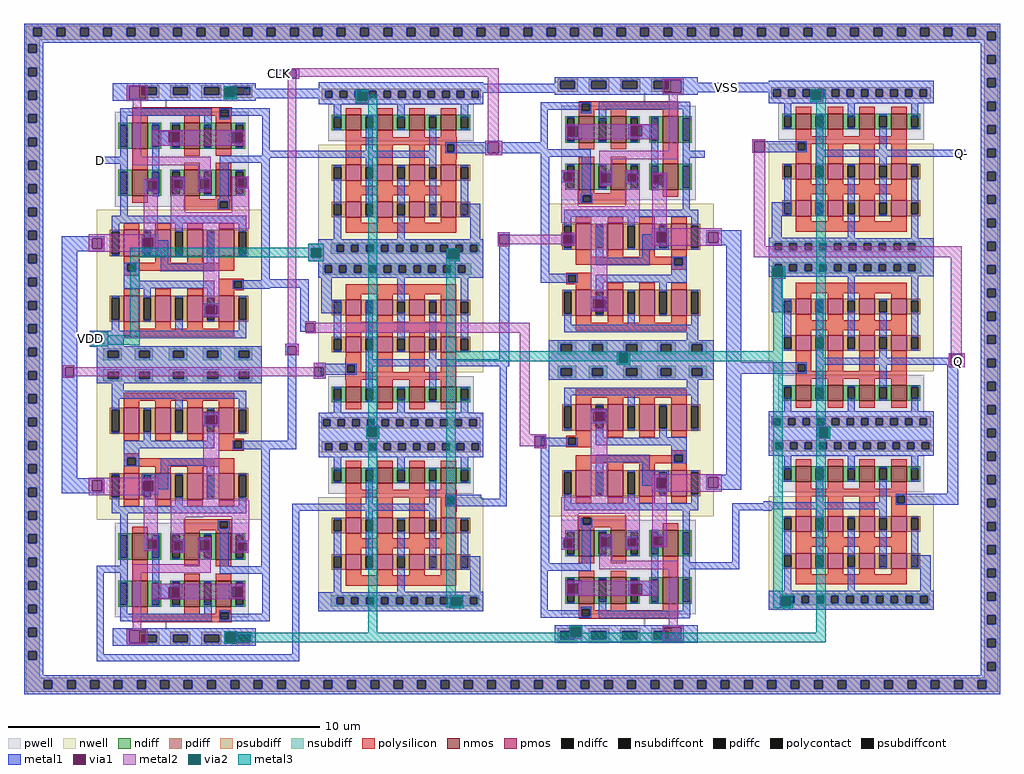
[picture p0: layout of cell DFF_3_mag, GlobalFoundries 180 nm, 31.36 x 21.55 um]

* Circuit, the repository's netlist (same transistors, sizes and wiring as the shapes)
* NGSPICE file created from /home/shahid/GF180Projects/Layout/Magic/VCO1/INV_2/DFF_3_mag.ext - technology: gf180mcuC

.subckt pmos_3p3_YMKZL5 a_n138_n84# a_50_n84# a_n50_n128# w_n224_n214#
X0 a_50_n84# a_n50_n128# a_n138_n84# w_n224_n214# pfet_03v3 ad=0.37p pd=2.56u as=0.37p ps=2.56u w=0.84u l=0.5u
.ends

.subckt nmos_3p3_UKFAHE a_n138_n84# a_50_n84# a_n50_n128# VSUBS
X0 a_50_n84# a_n50_n128# a_n138_n84# VSUBS nfet_03v3 ad=0.37p pd=2.56u as=0.37p ps=2.56u w=0.84u l=0.5u
.ends

.subckt Tr_Gate VSS OUT CLK VDD IN
Xpmos_3p3_YMKZL5_0 OUT IN a_174_n81# VDD pmos_3p3_YMKZL5
Xpmos_3p3_YMKZL5_1 IN OUT a_174_n81# VDD pmos_3p3_YMKZL5
Xpmos_3p3_YMKZL5_2 OUT IN a_174_n81# VDD pmos_3p3_YMKZL5
Xpmos_3p3_YMKZL5_3 IN OUT a_174_n81# VDD pmos_3p3_YMKZL5
Xpmos_3p3_YMKZL5_4 a_174_n81# VDD CLK VDD pmos_3p3_YMKZL5
Xpmos_3p3_YMKZL5_5 VDD a_174_n81# CLK VDD pmos_3p3_YMKZL5
Xnmos_3p3_UKFAHE_0 OUT IN CLK VSS nmos_3p3_UKFAHE
Xpmos_3p3_YMKZL5_6 a_174_n81# VDD CLK VDD pmos_3p3_YMKZL5
Xnmos_3p3_UKFAHE_1 IN OUT CLK VSS nmos_3p3_UKFAHE
Xpmos_3p3_YMKZL5_7 VDD a_174_n81# CLK VDD pmos_3p3_YMKZL5
Xnmos_3p3_UKFAHE_2 OUT IN CLK VSS nmos_3p3_UKFAHE
Xnmos_3p3_UKFAHE_3 OUT IN CLK VSS nmos_3p3_UKFAHE
Xnmos_3p3_UKFAHE_5 a_174_n81# VSS CLK VSS nmos_3p3_UKFAHE
Xnmos_3p3_UKFAHE_4 VSS a_174_n81# CLK VSS nmos_3p3_UKFAHE
.ends

.subckt nmos_3p3_6FEA4B a_n52_n50# a_256_n94# a_52_n94# a_356_n50# a_n256_n50# a_n444_n50#
+ a_152_n50# a_n356_n94# a_n152_n94# VSUBS
X0 a_152_n50# a_52_n94# a_n52_n50# VSUBS nfet_03v3 ad=0.13p pd=1.02u as=0.13p ps=1.02u w=0.5u l=0.5u
X1 a_n52_n50# a_n152_n94# a_n256_n50# VSUBS nfet_03v3 ad=0.13p pd=1.02u as=0.13p ps=1.02u w=0.5u l=0.5u
X2 a_n256_n50# a_n356_n94# a_n444_n50# VSUBS nfet_03v3 ad=0.13p pd=1.02u as=0.22p ps=1.88u w=0.5u l=0.5u
X3 a_356_n50# a_256_n94# a_152_n50# VSUBS nfet_03v3 ad=0.22p pd=1.88u as=0.13p ps=1.02u w=0.5u l=0.5u
.ends

.subckt pmos_3p3_KYEELV a_152_68# a_n444_n168# a_n256_68# a_n52_68# a_52_24# a_152_n168#
+ a_n444_68# a_356_68# a_256_n212# a_n256_n168# a_n356_n212# a_n152_24# w_n530_n298#
+ a_52_n212# a_n52_n168# a_n152_n212# a_n356_24# a_356_n168# a_256_24#
X0 a_n256_n168# a_n356_n212# a_n444_n168# w_n530_n298# pfet_03v3 ad=0.13p pd=1.02u as=0.22p ps=1.88u w=0.5u l=0.5u
X1 a_356_n168# a_256_n212# a_152_n168# w_n530_n298# pfet_03v3 ad=0.22p pd=1.88u as=0.13p ps=1.02u w=0.5u l=0.5u
X2 a_152_68# a_52_24# a_n52_68# w_n530_n298# pfet_03v3 ad=0.13p pd=1.02u as=0.13p ps=1.02u w=0.5u l=0.5u
X3 a_n52_68# a_n152_24# a_n256_68# w_n530_n298# pfet_03v3 ad=0.13p pd=1.02u as=0.13p ps=1.02u w=0.5u l=0.5u
X4 a_152_n168# a_52_n212# a_n52_n168# w_n530_n298# pfet_03v3 ad=0.13p pd=1.02u as=0.13p ps=1.02u w=0.5u l=0.5u
X5 a_356_68# a_256_24# a_152_68# w_n530_n298# pfet_03v3 ad=0.22p pd=1.88u as=0.13p ps=1.02u w=0.5u l=0.5u
X6 a_n52_n168# a_n152_n212# a_n256_n168# w_n530_n298# pfet_03v3 ad=0.13p pd=1.02u as=0.13p ps=1.02u w=0.5u l=0.5u
X7 a_n256_68# a_n356_24# a_n444_68# w_n530_n298# pfet_03v3 ad=0.13p pd=1.02u as=0.22p ps=1.88u w=0.5u l=0.5u
.ends

.subckt INV_2 VDD VSS IN OUT
Xnmos_3p3_6FEA4B_0 VSS IN IN VSS OUT VSS OUT IN IN VSS nmos_3p3_6FEA4B
Xpmos_3p3_KYEELV_0 OUT VDD OUT VDD IN OUT VDD VDD IN OUT IN IN VDD IN VDD IN IN VDD
+ IN pmos_3p3_KYEELV
.ends

.subckt x/home/shahid/GF180Projects/Layout/Magic/VCO1/INV_2/DFF_3_mag D CLK Q Q- VSS
+ VDD
XTr_Gate_3 VSS INV_2_1/IN CLK VDD INV_2_5/OUT Tr_Gate
XINV_2_0 VDD VSS CLK INV_2_0/OUT INV_2
XINV_2_1 VDD VSS INV_2_1/IN INV_2_5/IN INV_2
XINV_2_2 VDD VSS Q Q- INV_2
XINV_2_3 VDD VSS INV_2_3/IN Q INV_2
XINV_2_4 VDD VSS Q INV_2_4/OUT INV_2
XINV_2_5 VDD VSS INV_2_5/IN INV_2_5/OUT INV_2
XTr_Gate_0 VSS INV_2_3/IN INV_2_0/OUT VDD INV_2_4/OUT Tr_Gate
XTr_Gate_1 VSS INV_2_3/IN CLK VDD INV_2_5/IN Tr_Gate
XTr_Gate_2 VSS INV_2_1/IN INV_2_0/OUT VDD D Tr_Gate
.ends

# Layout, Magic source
magic
tech gf180mcuC
magscale 1 10
<< nwell >>
rect -817 1943 -712 1945
rect -3723 1885 -2663 1906
rect -817 1905 243 1943
<< psubdiff >>
rect -4178 4062 2072 4075
rect -4178 4006 -4129 4062
rect -4074 4006 -3979 4062
rect -3924 4006 -3829 4062
rect -3774 4006 -3679 4062
rect -3624 4006 -3529 4062
rect -3474 4006 -3379 4062
rect -3324 4006 -3229 4062
rect -3174 4006 -3079 4062
rect -3024 4006 -2929 4062
rect -2874 4006 -2779 4062
rect -2724 4006 -2629 4062
rect -2574 4006 -2479 4062
rect -2424 4006 -2329 4062
rect -2274 4006 -2179 4062
rect -2124 4006 -2029 4062
rect -1974 4006 -1879 4062
rect -1824 4006 -1729 4062
rect -1674 4006 -1579 4062
rect -1524 4006 -1429 4062
rect -1374 4006 -1279 4062
rect -1224 4006 -1129 4062
rect -1074 4006 -979 4062
rect -924 4006 -829 4062
rect -774 4006 -679 4062
rect -624 4006 -529 4062
rect -474 4006 -379 4062
rect -324 4006 -229 4062
rect -174 4006 -79 4062
rect -24 4006 71 4062
rect 126 4006 221 4062
rect 276 4006 371 4062
rect 426 4006 521 4062
rect 576 4006 671 4062
rect 726 4006 821 4062
rect 876 4006 971 4062
rect 1026 4006 1121 4062
rect 1176 4006 1271 4062
rect 1326 4006 1421 4062
rect 1476 4006 1571 4062
rect 1626 4006 1721 4062
rect 1776 4006 1871 4062
rect 1926 4035 2072 4062
rect 1926 4006 2000 4035
rect -4178 3985 2000 4006
rect -4178 3955 -4088 3985
rect -4178 3899 -4162 3955
rect -4107 3899 -4088 3955
rect -4178 3805 -4088 3899
rect -4178 3749 -4162 3805
rect -4107 3749 -4088 3805
rect -4178 3655 -4088 3749
rect -4178 3599 -4162 3655
rect -4107 3599 -4088 3655
rect -4178 3505 -4088 3599
rect -4178 3449 -4162 3505
rect -4107 3449 -4088 3505
rect -4178 3355 -4088 3449
rect -4178 3299 -4162 3355
rect -4107 3299 -4088 3355
rect -4178 3205 -4088 3299
rect -4178 3149 -4162 3205
rect -4107 3149 -4088 3205
rect -4178 3055 -4088 3149
rect -4178 2999 -4162 3055
rect -4107 2999 -4088 3055
rect -4178 2905 -4088 2999
rect -4178 2849 -4162 2905
rect -4107 2849 -4088 2905
rect -4178 2755 -4088 2849
rect -4178 2699 -4162 2755
rect -4107 2699 -4088 2755
rect -4178 2605 -4088 2699
rect -4178 2549 -4162 2605
rect -4107 2549 -4088 2605
rect -4178 2455 -4088 2549
rect -4178 2399 -4162 2455
rect -4107 2399 -4088 2455
rect -4178 2305 -4088 2399
rect -4178 2249 -4162 2305
rect -4107 2249 -4088 2305
rect -4178 2155 -4088 2249
rect -4178 2099 -4162 2155
rect -4107 2099 -4088 2155
rect -4178 2005 -4088 2099
rect -4178 1949 -4162 2005
rect -4107 1949 -4088 2005
rect -4178 1855 -4088 1949
rect -4178 1799 -4162 1855
rect -4107 1799 -4088 1855
rect -4178 1705 -4088 1799
rect -4178 1649 -4162 1705
rect -4107 1649 -4088 1705
rect -4178 1555 -4088 1649
rect -4178 1499 -4162 1555
rect -4107 1499 -4088 1555
rect -4178 1405 -4088 1499
rect -4178 1349 -4162 1405
rect -4107 1349 -4088 1405
rect -4178 1255 -4088 1349
rect -4178 1199 -4162 1255
rect -4107 1199 -4088 1255
rect -4178 1105 -4088 1199
rect -4178 1049 -4162 1105
rect -4107 1049 -4088 1105
rect -4178 955 -4088 1049
rect -4178 899 -4162 955
rect -4107 899 -4088 955
rect -4178 805 -4088 899
rect -4178 749 -4162 805
rect -4107 749 -4088 805
rect -4178 655 -4088 749
rect -4178 599 -4162 655
rect -4107 599 -4088 655
rect -4178 505 -4088 599
rect -4178 449 -4162 505
rect -4107 449 -4088 505
rect -4178 355 -4088 449
rect -4178 299 -4162 355
rect -4107 299 -4088 355
rect -4178 205 -4088 299
rect -4178 149 -4162 205
rect -4107 149 -4088 205
rect -4178 55 -4088 149
rect -4178 -1 -4162 55
rect -4107 -1 -4088 55
rect -4178 -115 -4088 -1
rect 1982 3979 2000 3985
rect 2055 3979 2072 4035
rect 1982 3885 2072 3979
rect 1982 3829 2000 3885
rect 2055 3829 2072 3885
rect 1982 3735 2072 3829
rect 1982 3679 2000 3735
rect 2055 3679 2072 3735
rect 1982 3585 2072 3679
rect 1982 3529 2000 3585
rect 2055 3529 2072 3585
rect 1982 3435 2072 3529
rect 1982 3379 2000 3435
rect 2055 3379 2072 3435
rect 1982 3285 2072 3379
rect 1982 3229 2000 3285
rect 2055 3229 2072 3285
rect 1982 3135 2072 3229
rect 1982 3079 2000 3135
rect 2055 3079 2072 3135
rect 1982 2985 2072 3079
rect 1982 2929 2000 2985
rect 2055 2929 2072 2985
rect 1982 2835 2072 2929
rect 1982 2779 2000 2835
rect 2055 2779 2072 2835
rect 1982 2685 2072 2779
rect 1982 2629 2000 2685
rect 2055 2629 2072 2685
rect 1982 2535 2072 2629
rect 1982 2479 2000 2535
rect 2055 2479 2072 2535
rect 1982 2385 2072 2479
rect 1982 2329 2000 2385
rect 2055 2329 2072 2385
rect 1982 2235 2072 2329
rect 1982 2179 2000 2235
rect 2055 2179 2072 2235
rect 1982 2085 2072 2179
rect 1982 2029 2000 2085
rect 2055 2029 2072 2085
rect 1982 1935 2072 2029
rect 1982 1879 2000 1935
rect 2055 1879 2072 1935
rect 1982 1785 2072 1879
rect 1982 1729 2000 1785
rect 2055 1729 2072 1785
rect 1982 1635 2072 1729
rect 1982 1579 2000 1635
rect 2055 1579 2072 1635
rect 1982 1485 2072 1579
rect 1982 1429 2000 1485
rect 2055 1429 2072 1485
rect 1982 1335 2072 1429
rect 1982 1279 2000 1335
rect 2055 1279 2072 1335
rect 1982 1185 2072 1279
rect 1982 1129 2000 1185
rect 2055 1129 2072 1185
rect 1982 1035 2072 1129
rect 1982 979 2000 1035
rect 2055 979 2072 1035
rect 1982 885 2072 979
rect 1982 829 2000 885
rect 2055 829 2072 885
rect 1982 735 2072 829
rect 1982 679 2000 735
rect 2055 679 2072 735
rect 1982 585 2072 679
rect 1982 529 2000 585
rect 2055 529 2072 585
rect 1982 435 2072 529
rect 1982 379 2000 435
rect 2055 379 2072 435
rect 1982 285 2072 379
rect 1982 229 2000 285
rect 2055 229 2072 285
rect 1982 135 2072 229
rect 1982 79 2000 135
rect 2055 79 2072 135
rect 1982 -15 2072 79
rect 1982 -71 2000 -15
rect 2055 -71 2072 -15
rect 1982 -115 2072 -71
rect -4178 -131 2072 -115
rect -4178 -187 -4062 -131
rect -4007 -187 -3912 -131
rect -3857 -187 -3762 -131
rect -3707 -187 -3612 -131
rect -3557 -187 -3462 -131
rect -3407 -187 -3312 -131
rect -3257 -187 -3162 -131
rect -3107 -187 -3012 -131
rect -2957 -187 -2862 -131
rect -2807 -187 -2712 -131
rect -2657 -187 -2562 -131
rect -2507 -187 -2412 -131
rect -2357 -187 -2262 -131
rect -2207 -187 -2112 -131
rect -2057 -187 -1962 -131
rect -1907 -187 -1812 -131
rect -1757 -187 -1662 -131
rect -1607 -187 -1512 -131
rect -1457 -187 -1362 -131
rect -1307 -187 -1212 -131
rect -1157 -187 -1062 -131
rect -1007 -187 -912 -131
rect -857 -187 -762 -131
rect -707 -187 -612 -131
rect -557 -187 -462 -131
rect -407 -187 -312 -131
rect -257 -187 -162 -131
rect -107 -187 -12 -131
rect 43 -187 138 -131
rect 193 -187 288 -131
rect 343 -187 438 -131
rect 493 -187 588 -131
rect 643 -187 738 -131
rect 793 -187 888 -131
rect 943 -187 1038 -131
rect 1093 -187 1188 -131
rect 1243 -187 1338 -131
rect 1393 -187 1488 -131
rect 1543 -187 1638 -131
rect 1693 -187 1788 -131
rect 1843 -187 1938 -131
rect 1993 -187 2072 -131
rect -4178 -205 2072 -187
<< psubdiffcont >>
rect -4129 4006 -4074 4062
rect -3979 4006 -3924 4062
rect -3829 4006 -3774 4062
rect -3679 4006 -3624 4062
rect -3529 4006 -3474 4062
rect -3379 4006 -3324 4062
rect -3229 4006 -3174 4062
rect -3079 4006 -3024 4062
rect -2929 4006 -2874 4062
rect -2779 4006 -2724 4062
rect -2629 4006 -2574 4062
rect -2479 4006 -2424 4062
rect -2329 4006 -2274 4062
rect -2179 4006 -2124 4062
rect -2029 4006 -1974 4062
rect -1879 4006 -1824 4062
rect -1729 4006 -1674 4062
rect -1579 4006 -1524 4062
rect -1429 4006 -1374 4062
rect -1279 4006 -1224 4062
rect -1129 4006 -1074 4062
rect -979 4006 -924 4062
rect -829 4006 -774 4062
rect -679 4006 -624 4062
rect -529 4006 -474 4062
rect -379 4006 -324 4062
rect -229 4006 -174 4062
rect -79 4006 -24 4062
rect 71 4006 126 4062
rect 221 4006 276 4062
rect 371 4006 426 4062
rect 521 4006 576 4062
rect 671 4006 726 4062
rect 821 4006 876 4062
rect 971 4006 1026 4062
rect 1121 4006 1176 4062
rect 1271 4006 1326 4062
rect 1421 4006 1476 4062
rect 1571 4006 1626 4062
rect 1721 4006 1776 4062
rect 1871 4006 1926 4062
rect -4162 3899 -4107 3955
rect -4162 3749 -4107 3805
rect -4162 3599 -4107 3655
rect -4162 3449 -4107 3505
rect -4162 3299 -4107 3355
rect -4162 3149 -4107 3205
rect -4162 2999 -4107 3055
rect -4162 2849 -4107 2905
rect -4162 2699 -4107 2755
rect -4162 2549 -4107 2605
rect -4162 2399 -4107 2455
rect -4162 2249 -4107 2305
rect -4162 2099 -4107 2155
rect -4162 1949 -4107 2005
rect -4162 1799 -4107 1855
rect -4162 1649 -4107 1705
rect -4162 1499 -4107 1555
rect -4162 1349 -4107 1405
rect -4162 1199 -4107 1255
rect -4162 1049 -4107 1105
rect -4162 899 -4107 955
rect -4162 749 -4107 805
rect -4162 599 -4107 655
rect -4162 449 -4107 505
rect -4162 299 -4107 355
rect -4162 149 -4107 205
rect -4162 -1 -4107 55
rect 2000 3979 2055 4035
rect 2000 3829 2055 3885
rect 2000 3679 2055 3735
rect 2000 3529 2055 3585
rect 2000 3379 2055 3435
rect 2000 3229 2055 3285
rect 2000 3079 2055 3135
rect 2000 2929 2055 2985
rect 2000 2779 2055 2835
rect 2000 2629 2055 2685
rect 2000 2479 2055 2535
rect 2000 2329 2055 2385
rect 2000 2179 2055 2235
rect 2000 2029 2055 2085
rect 2000 1879 2055 1935
rect 2000 1729 2055 1785
rect 2000 1579 2055 1635
rect 2000 1429 2055 1485
rect 2000 1279 2055 1335
rect 2000 1129 2055 1185
rect 2000 979 2055 1035
rect 2000 829 2055 885
rect 2000 679 2055 735
rect 2000 529 2055 585
rect 2000 379 2055 435
rect 2000 229 2055 285
rect 2000 79 2055 135
rect 2000 -71 2055 -15
rect -4062 -187 -4007 -131
rect -3912 -187 -3857 -131
rect -3762 -187 -3707 -131
rect -3612 -187 -3557 -131
rect -3462 -187 -3407 -131
rect -3312 -187 -3257 -131
rect -3162 -187 -3107 -131
rect -3012 -187 -2957 -131
rect -2862 -187 -2807 -131
rect -2712 -187 -2657 -131
rect -2562 -187 -2507 -131
rect -2412 -187 -2357 -131
rect -2262 -187 -2207 -131
rect -2112 -187 -2057 -131
rect -1962 -187 -1907 -131
rect -1812 -187 -1757 -131
rect -1662 -187 -1607 -131
rect -1512 -187 -1457 -131
rect -1362 -187 -1307 -131
rect -1212 -187 -1157 -131
rect -1062 -187 -1007 -131
rect -912 -187 -857 -131
rect -762 -187 -707 -131
rect -612 -187 -557 -131
rect -462 -187 -407 -131
rect -312 -187 -257 -131
rect -162 -187 -107 -131
rect -12 -187 43 -131
rect 138 -187 193 -131
rect 288 -187 343 -131
rect 438 -187 493 -131
rect 588 -187 643 -131
rect 738 -187 793 -131
rect 888 -187 943 -131
rect 1038 -187 1093 -131
rect 1188 -187 1243 -131
rect 1338 -187 1393 -131
rect 1488 -187 1543 -131
rect 1638 -187 1693 -131
rect 1788 -187 1843 -131
rect 1938 -187 1993 -131
<< metal1 >>
rect -4189 4062 2082 4087
rect -4189 4006 -4129 4062
rect -4074 4006 -3979 4062
rect -3924 4006 -3829 4062
rect -3774 4006 -3679 4062
rect -3624 4006 -3529 4062
rect -3474 4006 -3379 4062
rect -3324 4006 -3229 4062
rect -3174 4006 -3079 4062
rect -3024 4006 -2929 4062
rect -2874 4006 -2779 4062
rect -2724 4006 -2629 4062
rect -2574 4006 -2479 4062
rect -2424 4006 -2329 4062
rect -2274 4006 -2179 4062
rect -2124 4006 -2029 4062
rect -1974 4006 -1879 4062
rect -1824 4006 -1729 4062
rect -1674 4006 -1579 4062
rect -1524 4006 -1429 4062
rect -1374 4006 -1279 4062
rect -1224 4006 -1129 4062
rect -1074 4006 -979 4062
rect -924 4006 -829 4062
rect -774 4006 -679 4062
rect -624 4006 -529 4062
rect -474 4006 -379 4062
rect -324 4006 -229 4062
rect -174 4006 -79 4062
rect -24 4006 71 4062
rect 126 4006 221 4062
rect 276 4006 371 4062
rect 426 4006 521 4062
rect 576 4006 671 4062
rect 726 4006 821 4062
rect 876 4006 971 4062
rect 1026 4006 1121 4062
rect 1176 4006 1271 4062
rect 1326 4006 1421 4062
rect 1476 4006 1571 4062
rect 1626 4006 1721 4062
rect 1776 4006 1871 4062
rect 1926 4035 2082 4062
rect 1926 4006 2000 4035
rect -4189 3979 2000 4006
rect 2055 3979 2082 4035
rect -4189 3964 2082 3979
rect -4189 3955 -4066 3964
rect -4189 3899 -4162 3955
rect -4107 3899 -4066 3955
rect -4189 3805 -4066 3899
rect -4189 3749 -4162 3805
rect -4107 3749 -4066 3805
rect 1959 3885 2082 3964
rect 1959 3829 2000 3885
rect 2055 3829 2082 3885
rect -2506 3792 -2420 3801
rect -4189 3655 -4066 3749
rect -2580 3736 -2495 3792
rect -2439 3736 -2420 3792
rect -2506 3733 -2420 3736
rect 1959 3735 2082 3829
rect -4189 3599 -4162 3655
rect -4107 3599 -4066 3655
rect -2780 3609 -2240 3668
rect -4189 3505 -4066 3599
rect -1299 3642 -759 3701
rect 93 3648 633 3707
rect 1959 3679 2000 3735
rect 2055 3679 2082 3735
rect -4189 3449 -4162 3505
rect -4107 3449 -4066 3505
rect -4189 3355 -4066 3449
rect -4189 3299 -4162 3355
rect -4107 3299 -4066 3355
rect 1959 3585 2082 3679
rect 1959 3529 2000 3585
rect 2055 3529 2082 3585
rect 1959 3435 2082 3529
rect 1959 3379 2000 3435
rect 2055 3379 2082 3435
rect -1224 3325 -1116 3335
rect 489 3333 574 3346
rect 489 3332 709 3333
rect -4189 3205 -4066 3299
rect -1323 3324 -827 3325
rect -4189 3149 -4162 3205
rect -4107 3149 -4066 3205
rect -3721 3187 -3618 3233
rect -2652 3224 -2233 3270
rect -1323 3254 -1209 3324
rect -1139 3254 -827 3324
rect 489 3262 502 3332
rect 572 3262 709 3332
rect 1959 3285 2082 3379
rect 489 3261 709 3262
rect 489 3259 574 3261
rect -1323 3253 -827 3254
rect -1224 3241 -1116 3253
rect 1588 3232 1858 3278
rect 1959 3229 2000 3285
rect 2055 3229 2082 3285
rect -4189 3055 -4066 3149
rect -4189 2999 -4162 3055
rect -4107 2999 -4066 3055
rect -4189 2905 -4066 2999
rect -4189 2849 -4162 2905
rect -4107 2849 -4066 2905
rect -4189 2755 -4066 2849
rect 1959 3135 2082 3229
rect 1959 3079 2000 3135
rect 2055 3079 2082 3135
rect 1959 2985 2082 3079
rect 1959 2929 2000 2985
rect 2055 2929 2082 2985
rect 1959 2835 2082 2929
rect 1959 2779 2000 2835
rect 2055 2779 2082 2835
rect -4189 2699 -4162 2755
rect -4107 2699 -4066 2755
rect -1144 2732 -1068 2748
rect -4189 2605 -4066 2699
rect -4189 2549 -4162 2605
rect -4107 2549 -4066 2605
rect -4189 2455 -4066 2549
rect -4189 2399 -4162 2455
rect -4107 2399 -4066 2455
rect -4189 2305 -4066 2399
rect -4189 2249 -4162 2305
rect -4107 2249 -4066 2305
rect -4189 2155 -4066 2249
rect -4189 2099 -4162 2155
rect -4107 2099 -4066 2155
rect -4189 2005 -4066 2099
rect -4189 1949 -4162 2005
rect -4107 1949 -4066 2005
rect -4189 1855 -4066 1949
rect -4189 1799 -4162 1855
rect -4107 1799 -4066 1855
rect -4189 1705 -4066 1799
rect -4189 1649 -4162 1705
rect -4107 1649 -4066 1705
rect -4189 1555 -4066 1649
rect -4189 1499 -4162 1555
rect -4107 1499 -4066 1555
rect -4189 1405 -4066 1499
rect -4189 1349 -4162 1405
rect -4107 1349 -4066 1405
rect -4189 1255 -4066 1349
rect -4189 1199 -4162 1255
rect -4107 1199 -4066 1255
rect -4189 1105 -4066 1199
rect -4189 1049 -4162 1105
rect -4107 1049 -4066 1105
rect -3945 1880 -3848 2722
rect -2363 2643 -2264 2674
rect -1144 2669 -1135 2732
rect -1072 2669 -1068 2732
rect -1144 2658 -1068 2669
rect -738 2730 -652 2744
rect -738 2673 -725 2730
rect -663 2673 -652 2730
rect -738 2659 -652 2673
rect -2363 2587 -2340 2643
rect -2281 2587 -2264 2643
rect -2363 2560 -2264 2587
rect -2666 2389 -2358 2444
rect -2413 2176 -2358 2389
rect -2413 2163 -2314 2176
rect -3765 2088 -3583 2113
rect -2413 2109 -2378 2163
rect -2324 2109 -2314 2163
rect -2413 2108 -2314 2109
rect -2380 2097 -2314 2108
rect -3765 2032 -3736 2088
rect -3677 2032 -3583 2088
rect -3765 2011 -3583 2032
rect -2509 2015 -2424 2029
rect -2509 1961 -2494 2015
rect -2440 1961 -2424 2015
rect -2509 1958 -2424 1961
rect -3723 1885 -2663 1906
rect -3945 1822 -3925 1880
rect -3868 1822 -3848 1880
rect -3945 1167 -3848 1822
rect -2495 1407 -2440 1958
rect -1134 1932 -1071 2658
rect -2327 1880 -2250 1909
rect -1293 1887 -1071 1932
rect -817 1943 -712 1945
rect -817 1910 -367 1943
rect -308 1910 243 1943
rect -817 1905 243 1910
rect 324 1911 421 2761
rect 1959 2685 2082 2779
rect 1959 2629 2000 2685
rect 2055 2629 2082 2685
rect 1959 2535 2082 2629
rect 1959 2479 2000 2535
rect 2055 2479 2082 2535
rect 1959 2385 2082 2479
rect 1959 2329 2000 2385
rect 2055 2329 2082 2385
rect 1959 2235 2082 2329
rect 1959 2179 2000 2235
rect 2055 2179 2082 2235
rect 1959 2085 2082 2179
rect 1959 2029 2000 2085
rect 2055 2029 2082 2085
rect 1753 1964 1854 1968
rect 1753 1940 1765 1964
rect -1293 1886 -1087 1887
rect -2327 1822 -2320 1880
rect -2262 1822 -2250 1880
rect -2327 1807 -2250 1822
rect -2666 1352 -2440 1407
rect -3945 1070 -3753 1167
rect -4189 955 -4066 1049
rect -1133 1033 -1087 1886
rect 324 1839 688 1911
rect 1600 1894 1765 1940
rect 1743 1892 1765 1894
rect 1837 1892 1854 1964
rect 1743 1879 1854 1892
rect 1959 1935 2082 2029
rect 1959 1879 2000 1935
rect 2055 1879 2082 1935
rect -908 1437 -833 1449
rect -908 1372 -907 1437
rect -842 1372 -833 1437
rect -908 1359 -833 1372
rect 324 1188 421 1839
rect 273 1091 421 1188
rect 1743 1067 1815 1879
rect -4189 899 -4162 955
rect -4107 899 -4066 955
rect -4189 805 -4066 899
rect -4189 749 -4162 805
rect -4107 749 -4066 805
rect -4189 655 -4066 749
rect -4189 599 -4162 655
rect -4107 599 -4066 655
rect -2465 958 -2263 1004
rect -1283 987 -1087 1033
rect 563 1007 615 1018
rect 361 961 615 1007
rect 1570 995 1815 1067
rect 1959 1785 2082 1879
rect 1959 1729 2000 1785
rect 2055 1729 2082 1785
rect 1959 1635 2082 1729
rect 1959 1579 2000 1635
rect 2055 1579 2082 1635
rect 1959 1485 2082 1579
rect 1959 1429 2000 1485
rect 2055 1429 2082 1485
rect 1959 1335 2082 1429
rect 1959 1279 2000 1335
rect 2055 1279 2082 1335
rect 1959 1185 2082 1279
rect 1959 1129 2000 1185
rect 2055 1129 2082 1185
rect 1959 1035 2082 1129
rect -4189 505 -4066 599
rect -4189 449 -4162 505
rect -4107 449 -4066 505
rect -4189 355 -4066 449
rect -4189 299 -4162 355
rect -4107 299 -4066 355
rect -4189 205 -4066 299
rect -4189 149 -4162 205
rect -4107 149 -4066 205
rect -4189 55 -4066 149
rect -4189 -1 -4162 55
rect -4107 -1 -4066 55
rect -4189 -99 -4066 -1
rect -3722 559 -3618 605
rect -3722 35 -3676 559
rect -2465 35 -2419 958
rect 361 626 407 961
rect 563 957 615 961
rect 1959 979 2000 1035
rect 2055 979 2082 1035
rect 138 580 407 626
rect 1959 885 2082 979
rect 1959 829 2000 885
rect 2055 829 2082 885
rect 1959 735 2082 829
rect 1959 679 2000 735
rect 2055 679 2082 735
rect 1959 585 2082 679
rect 1959 529 2000 585
rect 2055 529 2082 585
rect 1959 435 2082 529
rect 1959 379 2000 435
rect 2055 379 2082 435
rect 1959 285 2082 379
rect 1959 229 2000 285
rect 2055 229 2082 285
rect -3722 -11 -2419 35
rect 1959 135 2082 229
rect 1959 79 2000 135
rect 2055 79 2082 135
rect 1959 -15 2082 79
rect 1959 -71 2000 -15
rect 2055 -71 2082 -15
rect 1959 -99 2082 -71
rect -4189 -131 2082 -99
rect -4189 -187 -4062 -131
rect -4007 -187 -3912 -131
rect -3857 -187 -3762 -131
rect -3707 -187 -3612 -131
rect -3557 -187 -3462 -131
rect -3407 -187 -3312 -131
rect -3257 -187 -3162 -131
rect -3107 -187 -3012 -131
rect -2957 -187 -2862 -131
rect -2807 -187 -2712 -131
rect -2657 -187 -2562 -131
rect -2507 -187 -2412 -131
rect -2357 -187 -2262 -131
rect -2207 -187 -2112 -131
rect -2057 -187 -1962 -131
rect -1907 -187 -1812 -131
rect -1757 -187 -1662 -131
rect -1607 -187 -1512 -131
rect -1457 -187 -1362 -131
rect -1307 -187 -1212 -131
rect -1157 -187 -1062 -131
rect -1007 -187 -912 -131
rect -857 -187 -762 -131
rect -707 -187 -612 -131
rect -557 -187 -462 -131
rect -407 -187 -312 -131
rect -257 -187 -162 -131
rect -107 -187 -12 -131
rect 43 -187 138 -131
rect 193 -187 288 -131
rect 343 -187 438 -131
rect 493 -187 588 -131
rect 643 -187 738 -131
rect 793 -187 888 -131
rect 943 -187 1038 -131
rect 1093 -187 1188 -131
rect 1243 -187 1338 -131
rect 1393 -187 1488 -131
rect 1543 -187 1638 -131
rect 1693 -187 1788 -131
rect 1843 -187 1938 -131
rect 1993 -187 2082 -131
rect -4189 -221 2082 -187
rect -3706 -222 2082 -221
<< via1 >>
rect -2495 3736 -2439 3792
rect -2895 3617 -2836 3673
rect -2046 3593 -1987 3649
rect 874 3599 933 3655
rect -1209 3254 -1139 3324
rect 502 3262 572 3332
rect -1135 2669 -1072 2732
rect -725 2673 -663 2730
rect -2340 2587 -2281 2643
rect -1461 2575 -1402 2631
rect -2378 2109 -2324 2163
rect -3736 2032 -3677 2088
rect -2494 1961 -2440 2015
rect -3925 1822 -3868 1880
rect -367 1910 -308 1966
rect 628 2462 687 2518
rect -2320 1822 -2262 1880
rect -1979 1435 -1920 1491
rect 1765 1892 1837 1964
rect -907 1372 -842 1437
rect 918 1433 977 1489
rect -2891 116 -2832 172
rect -1441 345 -1382 401
rect 678 346 737 402
rect -674 150 -615 206
<< metal2 >>
rect -2506 3792 -1138 3801
rect -2506 3736 -2495 3792
rect -2439 3745 -1138 3792
rect -2439 3736 -2420 3745
rect -2506 3733 -2420 3736
rect -2907 3675 -2822 3685
rect -2907 3615 -2897 3675
rect -2834 3615 -2822 3675
rect -2907 3603 -2822 3615
rect -3757 2090 -3649 2109
rect -3757 2030 -3738 2090
rect -3675 2030 -3649 2090
rect -3757 2016 -3649 2030
rect -2495 2029 -2439 3733
rect -2058 3651 -1973 3661
rect -2058 3591 -2048 3651
rect -1985 3591 -1973 3651
rect -2058 3579 -1973 3591
rect -1210 3335 -1138 3745
rect 862 3657 947 3667
rect 862 3597 872 3657
rect 935 3597 947 3657
rect 862 3585 947 3597
rect -1224 3324 -1116 3335
rect -1224 3254 -1209 3324
rect -1139 3254 -1116 3324
rect 489 3332 574 3346
rect 489 3262 502 3332
rect 572 3262 574 3332
rect 489 3259 574 3262
rect -1224 3241 -1116 3254
rect -1144 2732 -1068 2748
rect -738 2732 -652 2744
rect -2363 2645 -2264 2674
rect -1144 2669 -1135 2732
rect -1072 2730 -652 2732
rect -1072 2673 -725 2730
rect -663 2673 -652 2730
rect -1072 2669 -652 2673
rect -1144 2658 -1068 2669
rect -738 2659 -652 2669
rect 501 2658 573 3259
rect -2363 2585 -2342 2645
rect -2279 2585 -2264 2645
rect -2363 2560 -2264 2585
rect -1473 2633 -1388 2643
rect -1473 2573 -1463 2633
rect -1400 2573 -1388 2633
rect 501 2586 1837 2658
rect -1473 2561 -1388 2573
rect 616 2520 701 2530
rect 616 2460 626 2520
rect 689 2460 701 2520
rect 616 2448 701 2460
rect -2380 2167 -2314 2176
rect -2380 2163 -939 2167
rect -2380 2109 -2378 2163
rect -2324 2109 -939 2163
rect -2380 2102 -939 2109
rect -2380 2097 -2314 2102
rect -2509 2015 -2424 2029
rect -2509 1961 -2494 2015
rect -2440 1961 -2424 2015
rect -2509 1958 -2424 1961
rect -3941 1880 -3865 1892
rect -2327 1880 -2250 1909
rect -3941 1822 -3925 1880
rect -3868 1822 -2320 1880
rect -2262 1822 -2250 1880
rect -3941 1811 -3865 1822
rect -2327 1807 -2250 1822
rect -1991 1493 -1906 1503
rect -1991 1433 -1981 1493
rect -1918 1433 -1906 1493
rect -1991 1421 -1906 1433
rect -1004 1449 -939 2102
rect -379 1968 -294 1978
rect 1765 1968 1837 2586
rect -379 1908 -369 1968
rect -306 1908 -294 1968
rect -379 1896 -294 1908
rect 1753 1964 1854 1968
rect 1753 1892 1765 1964
rect 1837 1892 1854 1964
rect 1753 1879 1854 1892
rect 906 1491 991 1501
rect -1004 1437 -833 1449
rect -1004 1372 -907 1437
rect -842 1372 -833 1437
rect 906 1431 916 1491
rect 979 1431 991 1491
rect 906 1419 991 1431
rect -912 1359 -833 1372
rect -1453 403 -1368 413
rect -1453 343 -1443 403
rect -1380 343 -1368 403
rect -1453 331 -1368 343
rect 666 404 751 414
rect 666 344 676 404
rect 739 344 751 404
rect 666 332 751 344
rect -686 208 -601 218
rect -2903 174 -2818 184
rect -2903 114 -2893 174
rect -2830 114 -2818 174
rect -686 148 -676 208
rect -613 148 -601 208
rect -686 136 -601 148
rect -2903 102 -2818 114
<< via2 >>
rect -2897 3673 -2834 3675
rect -2897 3617 -2895 3673
rect -2895 3617 -2836 3673
rect -2836 3617 -2834 3673
rect -2897 3615 -2834 3617
rect -3738 2088 -3675 2090
rect -3738 2032 -3736 2088
rect -3736 2032 -3677 2088
rect -3677 2032 -3675 2088
rect -3738 2030 -3675 2032
rect -2048 3649 -1985 3651
rect -2048 3593 -2046 3649
rect -2046 3593 -1987 3649
rect -1987 3593 -1985 3649
rect -2048 3591 -1985 3593
rect 872 3655 935 3657
rect 872 3599 874 3655
rect 874 3599 933 3655
rect 933 3599 935 3655
rect 872 3597 935 3599
rect -2342 2643 -2279 2645
rect -2342 2587 -2340 2643
rect -2340 2587 -2281 2643
rect -2281 2587 -2279 2643
rect -2342 2585 -2279 2587
rect -1463 2631 -1400 2633
rect -1463 2575 -1461 2631
rect -1461 2575 -1402 2631
rect -1402 2575 -1400 2631
rect -1463 2573 -1400 2575
rect 626 2518 689 2520
rect 626 2462 628 2518
rect 628 2462 687 2518
rect 687 2462 689 2518
rect 626 2460 689 2462
rect -1981 1491 -1918 1493
rect -1981 1435 -1979 1491
rect -1979 1435 -1920 1491
rect -1920 1435 -1918 1491
rect -1981 1433 -1918 1435
rect -369 1966 -306 1968
rect -369 1910 -367 1966
rect -367 1910 -308 1966
rect -308 1910 -306 1966
rect -369 1908 -306 1910
rect 916 1489 979 1491
rect 916 1433 918 1489
rect 918 1433 977 1489
rect 977 1433 979 1489
rect 916 1431 979 1433
rect -1443 401 -1380 403
rect -1443 345 -1441 401
rect -1441 345 -1382 401
rect -1382 345 -1380 401
rect -1443 343 -1380 345
rect 676 402 739 404
rect 676 346 678 402
rect 678 346 737 402
rect 737 346 739 402
rect 676 344 739 346
rect -2893 172 -2830 174
rect -2893 116 -2891 172
rect -2891 116 -2832 172
rect -2832 116 -2830 172
rect -2893 114 -2830 116
rect -676 206 -613 208
rect -676 150 -674 206
rect -674 150 -615 206
rect -615 150 -613 206
rect -676 148 -613 150
<< metal3 >>
rect -2907 3675 -2822 3685
rect -2907 3615 -2897 3675
rect -2834 3615 -2822 3675
rect 862 3665 947 3667
rect -2907 3603 -2822 3615
rect -2058 3651 -1973 3661
rect -2058 3591 -2048 3651
rect -1985 3634 -1973 3651
rect 862 3657 961 3665
rect -1985 3591 -1918 3634
rect -2058 3574 -1918 3591
rect 862 3597 872 3657
rect 935 3597 961 3657
rect 862 3585 961 3597
rect -2363 2646 -2264 2674
rect -3506 2645 -2264 2646
rect -3506 2585 -2342 2645
rect -2279 2585 -2264 2645
rect -3757 2090 -3649 2109
rect -3757 2030 -3738 2090
rect -3675 2086 -3649 2090
rect -3506 2086 -3445 2585
rect -2363 2560 -2264 2585
rect -3675 2030 -3444 2086
rect -3757 2025 -3444 2030
rect -3757 2016 -3649 2025
rect -3506 2020 -3445 2025
rect -1978 1503 -1918 3574
rect -1473 2633 -1388 2643
rect -1473 2606 -1463 2633
rect -1477 2573 -1463 2606
rect -1400 2573 -1388 2633
rect -1477 2561 -1388 2573
rect -1477 1982 -1414 2561
rect 616 2520 701 2530
rect 616 2460 626 2520
rect 689 2460 701 2520
rect 616 2448 701 2460
rect 624 1982 687 2448
rect -1477 1968 687 1982
rect -1477 1919 -369 1968
rect -1991 1493 -1906 1503
rect -1991 1433 -1981 1493
rect -1918 1433 -1906 1493
rect -1991 1421 -1906 1433
rect -2903 174 -2818 184
rect -2903 114 -2893 174
rect -2830 173 -2818 174
rect -1978 173 -1918 1421
rect -1477 413 -1414 1919
rect -379 1908 -369 1919
rect -306 1919 687 1968
rect -306 1908 -294 1919
rect -379 1896 -294 1908
rect 624 414 687 1919
rect 901 1501 961 3585
rect 901 1491 991 1501
rect 901 1431 916 1491
rect 979 1431 991 1491
rect 901 1419 991 1431
rect -1477 403 -1368 413
rect -1477 343 -1443 403
rect -1380 343 -1368 403
rect -1477 337 -1368 343
rect -1453 331 -1368 337
rect 624 404 751 414
rect 624 344 676 404
rect 739 344 751 404
rect 624 332 751 344
rect -686 208 -601 218
rect -686 173 -676 208
rect -2830 148 -676 173
rect -613 173 -601 208
rect 901 173 961 1419
rect -613 148 961 173
rect -2830 114 961 148
rect -2903 113 961 114
rect -2903 102 -2818 113
use INV_2  INV_2_0
transform -1 0 -1216 0 -1 3226
box 21 -485 1081 648
use INV_2  INV_2_1
transform 1 0 -2318 0 1 1930
box 21 -485 1081 648
use INV_2  INV_2_2
transform 1 0 575 0 -1 3234
box 21 -485 1081 648
use INV_2  INV_2_3
transform 1 0 575 0 1 1938
box 21 -485 1081 648
use INV_2  INV_2_4
transform -1 0 1677 0 -1 968
box 21 -485 1081 648
use INV_2  INV_2_5
transform -1 0 -1216 0 -1 960
box 21 -485 1081 648
use Tr_Gate  Tr_Gate_0 ~/GF180Projects/Layout/Magic/VCO1/Tr_Gate
transform 1 0 -817 0 1 1343
box -53 -1233 1187 569
use Tr_Gate  Tr_Gate_1
transform 1 0 -817 0 -1 2509
box -53 -1233 1187 569
use Tr_Gate  Tr_Gate_2
transform -1 0 -2663 0 -1 2470
box -53 -1233 1187 569
use Tr_Gate  Tr_Gate_3
transform -1 0 -2663 0 1 1322
box -53 -1233 1187 569
<< labels >>
flabel metal1 -3700 3207 -3699 3208 0 FreeSans 800 0 0 0 D
port 0 nsew
flabel via1 1813 1916 1813 1916 0 FreeSans 800 0 0 0 Q
port 2 nsew
flabel metal1 1835 3254 1835 3254 0 FreeSans 800 0 0 0 Q-
port 3 nsew
flabel metal1 324 3679 324 3679 0 FreeSans 800 0 0 0 VSS
port 4 nsew
flabel metal1 -3762 2064 -3762 2064 0 FreeSans 800 0 0 0 VDD
port 5 nsew
flabel metal1 -2550 3766 -2550 3766 0 FreeSans 800 0 0 0 CLK
port 1 nsew
<< end >>

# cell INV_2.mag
magic
tech gf180mcuC
magscale 1 10
<< nwell >>
rect 21 513 1081 648
rect 21 507 166 513
rect 168 507 525 508
rect 528 507 1081 513
rect 371 470 907 483
rect 321 180 324 242
<< psubdiff >>
rect 38 -385 1061 -372
rect 38 -431 51 -385
rect 97 -431 145 -385
rect 191 -431 239 -385
rect 285 -431 333 -385
rect 379 -431 427 -385
rect 473 -431 521 -385
rect 567 -431 615 -385
rect 661 -431 709 -385
rect 755 -431 803 -385
rect 849 -431 897 -385
rect 943 -431 991 -385
rect 1037 -431 1061 -385
rect 38 -444 1061 -431
<< nsubdiff >>
rect 47 604 1002 617
rect 47 558 60 604
rect 106 558 154 604
rect 200 558 251 604
rect 297 558 345 604
rect 391 558 442 604
rect 488 558 536 604
rect 582 558 633 604
rect 679 558 727 604
rect 773 558 824 604
rect 870 558 918 604
rect 964 558 1002 604
rect 47 545 1002 558
<< psubdiffcont >>
rect 51 -431 97 -385
rect 145 -431 191 -385
rect 239 -431 285 -385
rect 333 -431 379 -385
rect 427 -431 473 -385
rect 521 -431 567 -385
rect 615 -431 661 -385
rect 709 -431 755 -385
rect 803 -431 849 -385
rect 897 -431 943 -385
rect 991 -431 1037 -385
<< nsubdiffcont >>
rect 60 558 106 604
rect 154 558 200 604
rect 251 558 297 604
rect 345 558 391 604
rect 442 558 488 604
rect 536 558 582 604
rect 633 558 679 604
rect 727 558 773 604
rect 824 558 870 604
rect 918 558 964 604
<< polysilicon >>
rect 195 417 907 483
rect 195 180 907 242
rect 194 -39 295 9
rect 194 -87 207 -39
rect 255 -83 295 -39
rect 399 -83 499 3
rect 603 -83 703 3
rect 807 -83 907 3
rect 255 -87 907 -83
rect 194 -131 907 -87
<< polycontact >>
rect 207 -87 255 -39
<< metal1 >>
rect 21 604 1081 648
rect 21 558 60 604
rect 106 558 154 604
rect 200 558 251 604
rect 297 558 345 604
rect 391 558 442 604
rect 488 558 536 604
rect 582 558 633 604
rect 679 558 727 604
rect 773 558 824 604
rect 870 558 918 604
rect 964 558 1081 604
rect 21 525 1081 558
rect 21 524 574 525
rect 40 381 106 524
rect 40 295 166 381
rect 120 135 166 295
rect 324 141 370 381
rect 528 372 574 524
rect 936 372 982 525
rect 528 140 574 302
rect 732 142 778 290
rect 936 134 982 298
rect 324 2 370 53
rect 732 2 778 50
rect 35 -39 266 -27
rect 35 -87 207 -39
rect 255 -87 266 -39
rect 35 -99 266 -87
rect 324 -44 1071 2
rect 324 -189 370 -44
rect 732 -182 778 -44
rect 120 -342 166 -256
rect 528 -342 574 -253
rect 936 -342 982 -252
rect 22 -385 1080 -342
rect 22 -431 51 -385
rect 97 -431 145 -385
rect 191 -431 239 -385
rect 285 -431 333 -385
rect 379 -431 427 -385
rect 473 -431 521 -385
rect 567 -431 615 -385
rect 661 -431 709 -385
rect 755 -431 803 -385
rect 849 -431 897 -385
rect 943 -431 991 -385
rect 1037 -431 1080 -385
rect 22 -485 1080 -431
use nmos_3p3_6FEA4B  nmos_3p3_6FEA4B_0
transform 1 0 551 0 1 -225
box -468 -118 468 118
use pmos_3p3_KYEELV  pmos_3p3_KYEELV_0
transform 1 0 551 0 1 215
box -530 -298 530 298
<< labels >>
flabel nsubdiffcont 559 581 559 581 0 FreeSans 800 0 0 0 VDD
port 0 nsew
flabel psubdiffcont 544 -408 544 -408 0 FreeSans 800 0 0 0 VSS
port 1 nsew
flabel metal1 53 -64 53 -64 0 FreeSans 800 0 0 0 IN
port 2 nsew
flabel metal1 1042 -23 1042 -23 0 FreeSans 800 0 0 0 OUT
port 3 nsew
<< end >>

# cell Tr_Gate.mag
magic
tech gf180mcuC
magscale 1 10
<< nwell >>
rect 0 428 1060 569
rect 815 342 870 380
rect 397 -180 398 -151
rect 145 -341 916 -337
<< pwell >>
rect 205 -475 206 -466
rect 217 -480 269 -434
rect 609 -1130 620 -442
<< pmos >>
rect 662 -180 663 -151
<< psubdiff >>
rect 58 -1160 187 -1141
rect 58 -1210 73 -1160
rect 168 -1210 187 -1160
rect 58 -1223 187 -1210
rect 258 -1160 387 -1141
rect 258 -1210 273 -1160
rect 368 -1210 387 -1160
rect 258 -1223 387 -1210
rect 458 -1160 587 -1141
rect 458 -1210 473 -1160
rect 568 -1210 587 -1160
rect 458 -1223 587 -1210
rect 658 -1160 787 -1141
rect 658 -1210 673 -1160
rect 768 -1210 787 -1160
rect 658 -1223 787 -1210
<< nsubdiff >>
rect 58 529 176 545
rect 58 483 78 529
rect 147 483 176 529
rect 58 469 176 483
rect 258 529 376 545
rect 258 483 278 529
rect 347 483 376 529
rect 258 469 376 483
rect 478 529 596 545
rect 478 483 498 529
rect 567 483 596 529
rect 478 469 596 483
rect 698 529 816 545
rect 698 483 718 529
rect 787 483 816 529
rect 698 469 816 483
rect 898 529 1016 545
rect 898 483 918 529
rect 987 483 1016 529
rect 898 469 1016 483
<< psubdiffcont >>
rect 73 -1210 168 -1160
rect 273 -1210 368 -1160
rect 473 -1210 568 -1160
rect 673 -1210 768 -1160
<< nsubdiffcont >>
rect 78 483 147 529
rect 278 483 347 529
rect 498 483 567 529
rect 718 483 787 529
rect 918 483 987 529
<< polysilicon >>
rect 174 342 886 394
rect 113 89 174 97
rect 113 84 274 89
rect 113 37 126 84
rect 174 37 274 84
rect 113 21 274 37
rect 786 -25 886 4
rect 786 -28 807 -25
rect 174 -72 807 -28
rect 862 -72 886 -25
rect 174 -81 886 -72
rect 192 -431 498 -418
rect 192 -466 217 -431
rect 205 -477 217 -466
rect 269 -466 498 -431
rect 269 -477 478 -466
rect 204 -490 478 -477
rect 490 -490 498 -466
rect 732 -770 832 -722
rect 192 -1063 212 -1025
rect 264 -1063 832 -1025
rect 192 -1081 832 -1063
<< polycontact >>
rect 126 37 174 84
rect 807 -72 862 -25
rect 217 -477 269 -431
rect 212 -1063 264 -1016
<< metal1 >>
rect 0 529 1060 569
rect 0 483 78 529
rect 147 483 278 529
rect 347 483 498 529
rect 567 483 718 529
rect 787 483 918 529
rect 987 483 1060 529
rect 0 455 1060 483
rect 885 405 961 455
rect 99 355 961 405
rect 99 285 145 355
rect 507 285 553 355
rect 915 285 961 355
rect 270 249 369 265
rect 270 191 284 249
rect 358 191 369 249
rect 270 178 369 191
rect -52 84 185 85
rect -52 37 126 84
rect 174 37 185 84
rect -52 30 185 37
rect 303 84 349 132
rect 711 86 757 132
rect 711 84 886 86
rect 303 36 886 84
rect -52 -722 3 30
rect 786 -25 886 36
rect 302 -75 648 -26
rect 302 -288 351 -75
rect 599 -127 648 -75
rect 786 -72 807 -25
rect 862 -72 886 -25
rect 786 -80 886 -72
rect 599 -172 771 -127
rect 599 -226 695 -172
rect 663 -240 695 -226
rect 759 -195 771 -172
rect 1011 -170 1187 -155
rect 759 -240 770 -195
rect 663 -263 770 -240
rect 1011 -238 1024 -170
rect 1088 -238 1187 -170
rect 1011 -252 1187 -238
rect 99 -336 145 -290
rect 507 -336 553 -290
rect 915 -336 961 -290
rect 99 -382 961 -336
rect 205 -431 280 -429
rect 205 -477 217 -431
rect 269 -477 280 -431
rect 205 -490 280 -477
rect 81 -570 154 -558
rect 81 -623 95 -570
rect 153 -623 154 -570
rect 81 -635 154 -623
rect 211 -722 269 -490
rect 657 -540 703 -509
rect 329 -555 409 -542
rect 329 -617 331 -555
rect 398 -617 409 -555
rect 329 -629 409 -617
rect 494 -561 567 -549
rect 494 -614 507 -561
rect 565 -614 567 -561
rect 494 -626 567 -614
rect 657 -551 743 -540
rect 657 -608 671 -551
rect 731 -608 743 -551
rect 657 -620 743 -608
rect -52 -762 269 -722
rect -53 -770 269 -762
rect -53 -1026 -6 -770
rect 106 -853 212 -833
rect 657 -834 703 -620
rect 859 -665 906 -382
rect 859 -667 907 -665
rect 106 -919 118 -853
rect 189 -919 212 -853
rect 106 -932 212 -919
rect 510 -856 703 -834
rect 510 -922 526 -856
rect 597 -922 703 -856
rect 510 -927 703 -922
rect 205 -1016 273 -1003
rect 205 -1026 212 -1016
rect -53 -1063 212 -1026
rect 264 -1063 273 -1016
rect -53 -1073 273 -1063
rect 321 -1027 368 -953
rect 657 -977 703 -927
rect 860 -717 907 -667
rect 860 -763 1001 -717
rect 860 -953 906 -763
rect 861 -1027 908 -954
rect 321 -1067 908 -1027
rect 321 -1072 907 -1067
rect 321 -1075 906 -1072
rect 38 -1133 957 -1121
rect 38 -1160 743 -1133
rect 38 -1210 73 -1160
rect 168 -1210 273 -1160
rect 368 -1210 473 -1160
rect 568 -1210 673 -1160
rect 38 -1214 743 -1210
rect 850 -1214 957 -1133
rect 38 -1233 957 -1214
<< via1 >>
rect 284 191 358 249
rect 695 -240 759 -172
rect 1024 -238 1088 -170
rect 95 -623 153 -570
rect 331 -617 398 -555
rect 507 -614 565 -561
rect 671 -608 731 -551
rect 118 -919 189 -853
rect 526 -922 597 -856
rect 743 -1160 850 -1133
rect 743 -1210 768 -1160
rect 768 -1210 850 -1160
rect 743 -1214 850 -1210
<< metal2 >>
rect 270 265 375 270
rect 270 249 376 265
rect 270 191 284 249
rect 358 191 376 249
rect 270 -298 375 191
rect 663 -170 1111 -151
rect 663 -172 1024 -170
rect 663 -240 695 -172
rect 759 -238 1024 -172
rect 1088 -238 1111 -170
rect 759 -240 1111 -238
rect 663 -264 1111 -240
rect 80 -404 583 -298
rect 80 -550 190 -404
rect 373 -405 583 -404
rect 81 -570 190 -550
rect 81 -623 95 -570
rect 153 -623 190 -570
rect 81 -635 190 -623
rect 327 -542 408 -535
rect 327 -555 409 -542
rect 327 -617 331 -555
rect 398 -617 409 -555
rect 327 -629 409 -617
rect 490 -561 583 -405
rect 490 -614 507 -561
rect 565 -614 583 -561
rect 327 -682 408 -629
rect 490 -635 583 -614
rect 666 -551 757 -264
rect 1015 -265 1111 -264
rect 666 -608 671 -551
rect 731 -608 757 -551
rect 666 -620 757 -608
rect 325 -707 408 -682
rect 325 -708 807 -707
rect 325 -763 828 -708
rect 106 -853 703 -834
rect 106 -919 118 -853
rect 189 -856 703 -853
rect 189 -919 526 -856
rect 106 -922 526 -919
rect 597 -922 703 -856
rect 106 -932 703 -922
rect 772 -1126 828 -763
rect 731 -1133 867 -1126
rect 731 -1214 743 -1133
rect 850 -1214 867 -1133
rect 731 -1223 867 -1214
use nmos_3p3_UKFAHE  nmos_3p3_UKFAHE_0
transform 1 0 243 0 1 -898
box -162 -152 162 152
use nmos_3p3_UKFAHE  nmos_3p3_UKFAHE_1
transform 1 0 447 0 1 -898
box -162 -152 162 152
use nmos_3p3_UKFAHE  nmos_3p3_UKFAHE_2
transform 1 0 782 0 1 -594
box -162 -152 162 152
use nmos_3p3_UKFAHE  nmos_3p3_UKFAHE_3
transform 1 0 782 0 1 -898
box -162 -152 162 152
use nmos_3p3_UKFAHE  nmos_3p3_UKFAHE_4
transform 1 0 447 0 1 -594
box -162 -152 162 152
use nmos_3p3_UKFAHE  nmos_3p3_UKFAHE_5
transform 1 0 243 0 1 -594
box -162 -152 162 152
use pmos_3p3_YMKZL5  pmos_3p3_YMKZL5_0
transform 1 0 428 0 1 -208
box -224 -214 224 214
use pmos_3p3_YMKZL5  pmos_3p3_YMKZL5_1
transform 1 0 632 0 1 -208
box -224 -214 224 214
use pmos_3p3_YMKZL5  pmos_3p3_YMKZL5_2
transform 1 0 836 0 1 -208
box -224 -214 224 214
use pmos_3p3_YMKZL5  pmos_3p3_YMKZL5_3
transform 1 0 224 0 1 -208
box -224 -214 224 214
use pmos_3p3_YMKZL5  pmos_3p3_YMKZL5_4
transform 1 0 836 0 1 214
box -224 -214 224 214
use pmos_3p3_YMKZL5  pmos_3p3_YMKZL5_5
transform 1 0 632 0 1 214
box -224 -214 224 214
use pmos_3p3_YMKZL5  pmos_3p3_YMKZL5_6
transform 1 0 428 0 1 214
box -224 -214 224 214
use pmos_3p3_YMKZL5  pmos_3p3_YMKZL5_7
transform 1 0 224 0 1 214
box -224 -214 224 214
<< labels >>
flabel psubdiffcont 514 -1187 514 -1187 0 FreeSans 480 0 0 0 VSS
port 0 nsew
flabel metal1 1133 -218 1133 -218 0 FreeSans 480 0 0 0 OUT
port 1 nsew
flabel metal1 966 -741 966 -741 0 FreeSans 480 0 0 0 IN
port 2 nsew
flabel metal1 -37 -344 -37 -344 0 FreeSans 480 0 0 0 CLK
port 3 nsew
flabel nsubdiffcont 533 506 533 506 0 FreeSans 640 0 0 0 VDD
port 5 nsew
<< end >>

# cell nmos_3p3_UKFAHE: kit device nmos_3p3, w 0.84 l 0.5 m 1 nf 1 diffcov 100 polycov 100 guard 0 glc 0 grc 0 gtc 0 gbc 0 tbcov 100 rlcov 100 topc 0 botc 0 poverlap 0 doverlap 1 lmin 0.28 wmin 0.22 full_metal 0 compatible {nmos_3p3 nmos_6p0 nmos_6p0_nat}

# cell pmos_3p3_YMKZL5: kit device pmos_3p3, w 0.84 l 0.5 m 1 nf 1 diffcov 100 polycov 100 guard 0 glc 0 grc 0 gtc 0 gbc 0 tbcov 100 rlcov 100 topc 0 botc 0 poverlap 0 doverlap 1 lmin 0.28 wmin 0.22 full_metal 0 compatible {pmos_3p3 pmos_6p0}

# cell nmos_3p3_6FEA4B: kit device nmos_3p3, w 0.5 l 0.5 m 1 nf 4 diffcov 100 polycov 100 guard 0 glc 0 grc 0 gtc 0 gbc 0 tbcov 100 rlcov 100 topc 0 botc 0 poverlap 0 doverlap 1 lmin 0.28 wmin 0.22 full_metal 0 compatible {nmos_3p3 nmos_6p0 nmos_6p0_nat}

# cell pmos_3p3_KYEELV: kit device pmos_3p3, w 0.5 l 0.5 m 2 nf 4 diffcov 100 polycov 100 guard 0 glc 0 grc 0 gtc 0 gbc 0 tbcov 100 rlcov 100 topc 0 botc 0 poverlap 0 doverlap 1 lmin 0.28 wmin 0.22 full_metal 0 compatible {pmos_3p3 pmos_6p0}
